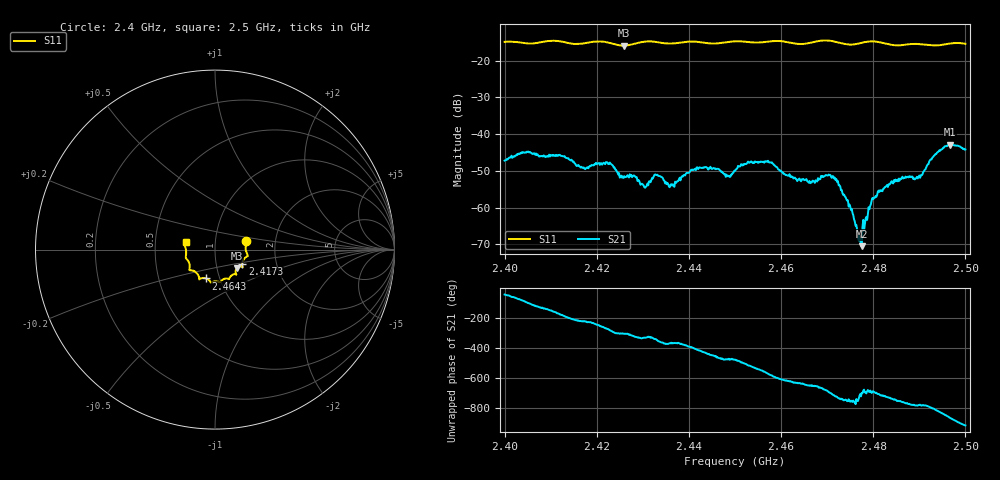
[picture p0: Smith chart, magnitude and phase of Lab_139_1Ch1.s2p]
# Hz S RI R 50
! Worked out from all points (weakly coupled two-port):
!   601 points, 2.4 GHz to 2.5 GHz, reference 50 ohm
!   highest |S21| = -42.91 dB at 2.4967 GHz (marker M1); lowest = -70.5 dB at 2.4775 GHz (marker M2)
!   lowest |S11| = -15.9 dB at 2.4258 GHz (marker M3), VSWR 1.38, Z = 62.3 - j13.3 ohm
!   |S11| at or under -10 dB: start of sweep to end of sweep
!   S12 and S22 are empty: the file has one direction only
!   S11 on the Smith chart (normalised r, x): 2.4 GHz: 1.41, +0.14; 2.4173 GHz: 1.34, -0.23; 2.4643 GHz: 0.86, -0.28; 2.5 GHz: 0.72, +0.06
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2.4e9  0.1735 0.049  0.00301 -0.00314  0 0  0 0
2.405333e9  0.1707 0.00934  -0.00148 -0.00542  0 0  0 0
2.416667e9  0.1528 -0.0744  -0.00257 0.00251  0 0  0 0
2.417333e9  0.152 -0.0819  -0.00246 0.00234  0 0  0 0
2.4225e9  0.1491 -0.0945  0.00053 0.00387  0 0  0 0
2.425833e9  0.1217 -0.1038  0.00154 0.002  0 0  0 0
2.430667e9  0.1186 -0.1384  0.00172 0.000859  0 0  0 0
2.433333e9  0.1127 -0.1372  0.00269 0.000138  0 0  0 0
2.436333e9  0.0918 -0.1446  0.00194 -0.000428  0 0  0 0
2.442167e9  0.0737 -0.1636  0.00177 -0.00299  0 0  0 0
2.45e9  0.0291 -0.1811  -0.00157 -0.00272  0 0  0 0
2.457e9  -0.014 -0.1804  -0.00358 0.00218  0 0  0 0
2.464333e9  -0.0498 -0.1607  0.000432 0.00224  0 0  0 0
2.466667e9  -0.076 -0.1595  0.000791 0.00205  0 0  0 0
2.471833e9  -0.0882 -0.1576  0.00235 -0.000242  0 0  0 0
2.477e9  -0.1266 -0.1161  0.000359 -2.51e-05  0 0  0 0
2.4775e9  -0.1312 -0.1155  0.000283 9.07e-05  0 0  0 0
2.479833e9  -0.143 -0.1136  0.0012 0.000632  0 0  0 0
2.483333e9  -0.141 -0.0896  0.00203 -0.000451  0 0  0 0
2.490167e9  -0.163 -0.0397  0.00123 -0.00222  0 0  0 0
2.496667e9  -0.169 0.0245  -0.00612 -0.0037  0 0  0 0
2.5e9  -0.1642 0.0428  -0.00582 0.00206  0 0  0 0
